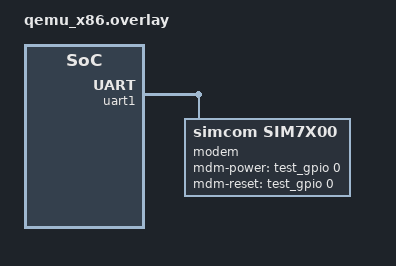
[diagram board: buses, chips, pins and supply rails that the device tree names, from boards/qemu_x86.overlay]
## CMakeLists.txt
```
# SPDX-License-Identifier: Apache-2.0

cmake_minimum_required(VERSION 3.20.0)
find_package(Zephyr REQUIRED HINTS $ENV{ZEPHYR_BASE})
project(simcom7x00_modem_unit)

target_sources(app PRIVATE src/main.c)
```

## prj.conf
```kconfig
CONFIG_ZTEST=y
CONFIG_TEST=y
CONFIG_GPIO=y
CONFIG_SERIAL=y
CONFIG_MODEM=y
CONFIG_NETWORKING=y
CONFIG_NET_L2_PPP=y
CONFIG_NET_QEMU_SLIP=n
CONFIG_SLIP=n
CONFIG_NET_SLIP_TAP=n
CONFIG_PM_DEVICE=y
CONFIG_UART_INTERRUPT_DRIVEN=y
CONFIG_MODEM_SIMCOM7X00=y
CONFIG_GNSS=y
CONFIG_GNSS_SIMCOM7X00=y
```

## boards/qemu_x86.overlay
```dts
/
{
	test {
		#address-cells = <1>;
		#size-cells = <1>;

		test_gpio: gpio@deadbeef {
			compatible = "vnd,gpio";
			gpio-controller;
			reg = <0xdeadbeef 0x1000>;
			#gpio-cells = <2>;
			status = "okay";
		};
	};
};

&uart1 {
	modem {
		compatible = "simcom,sim7x00";
		status = "okay";
		mdm-power-gpios = <&test_gpio 0 0>;
		mdm-reset-gpios = <&test_gpio 0 0>;

		gnss {
			compatible = "simcom,sim7x00-gnss";
			status = "okay";
		};
	};
};
```

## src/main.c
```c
/*
 * SPDX-License-Identifier: Apache-2.0
 */

#include <zephyr/drivers/cellular.h>
#include <zephyr/drivers/modem/simcom7x00.h>
#include <zephyr/ztest.h>

enum simcom7x00_rat simcom7x00_test_parse_cpsi_rat(const char *system_mode);
enum cellular_registration_status simcom7x00_test_registration_snapshot(
	enum simcom7x00_rat current_rat, enum cellular_registration_status gsm,
	enum cellular_registration_status gprs, enum cellular_registration_status lte);
int simcom7x00_test_operator_cache(void);
int simcom7x00_test_control_arbitration(void);
int simcom7x00_test_diagnostics_sequence(struct simcom7x00_control_diagnostics *failed,
					 struct simcom7x00_control_diagnostics *succeeded);
int simcom7x00_test_periodic_busy_retry(void);
int simcom7x00_test_gnss_snapshot_invalidation(void);
int simcom7x00_test_gnss_prepare_fix_rate_unlocks_mutex(void);

ZTEST(simcom7x00_modem_unit, test_cpsi_rat_parser)
{
	zassert_equal(simcom7x00_test_parse_cpsi_rat("EDGE"), SIMCOM7X00_RAT_EDGE, NULL);
	zassert_equal(simcom7x00_test_parse_cpsi_rat("HSPA+"), SIMCOM7X00_RAT_UMTS, NULL);
	zassert_equal(simcom7x00_test_parse_cpsi_rat("LTE"), SIMCOM7X00_RAT_LTE, NULL);
	zassert_equal(simcom7x00_test_parse_cpsi_rat("GSM"), SIMCOM7X00_RAT_GSM, NULL);
	zassert_equal(simcom7x00_test_parse_cpsi_rat("CAT-M"), SIMCOM7X00_RAT_LTE, NULL);
}

ZTEST(simcom7x00_modem_unit, test_registration_snapshot)
{
	zassert_equal(simcom7x00_test_registration_snapshot(
			      SIMCOM7X00_RAT_LTE, CELLULAR_REGISTRATION_SEARCHING,
			      CELLULAR_REGISTRATION_UNKNOWN, CELLULAR_REGISTRATION_REGISTERED_HOME),
		      CELLULAR_REGISTRATION_REGISTERED_HOME, NULL);
	zassert_equal(simcom7x00_test_registration_snapshot(
			      SIMCOM7X00_RAT_EDGE, CELLULAR_REGISTRATION_NOT_REGISTERED,
			      CELLULAR_REGISTRATION_REGISTERED_ROAMING, CELLULAR_REGISTRATION_UNKNOWN),
		      CELLULAR_REGISTRATION_REGISTERED_ROAMING, NULL);
}

ZTEST(simcom7x00_modem_unit, test_operator_cache)
{
	zassert_ok(simcom7x00_test_operator_cache(), NULL);
}

ZTEST(simcom7x00_modem_unit, test_control_arbitration)
{
	zassert_ok(simcom7x00_test_control_arbitration(), NULL);
}

ZTEST(simcom7x00_modem_unit, test_diagnostics_freshness)
{
	struct simcom7x00_control_diagnostics failed = { 0 };
	struct simcom7x00_control_diagnostics succeeded = { 0 };

	zassert_ok(simcom7x00_test_diagnostics_sequence(&failed, &succeeded), NULL);
	zassert_equal(failed.last_result, SIMCOM7X00_CONTROL_RESULT_FAILED, NULL);
	zassert_true(failed.has_cme_error, NULL);
	zassert_equal(failed.last_cme_error, 515, NULL);
	zassert_equal(failed.transaction_id, failed.completed_transaction_id, NULL);
	zassert_false(failed.transaction_in_progress, NULL);

	zassert_equal(succeeded.last_result, SIMCOM7X00_CONTROL_RESULT_SUCCESS, NULL);
	zassert_false(succeeded.has_cme_error, NULL);
	zassert_equal(succeeded.last_cme_error, 0, NULL);
	zassert_true(succeeded.transaction_id > failed.transaction_id, NULL);
	zassert_equal(succeeded.transaction_id, succeeded.completed_transaction_id, NULL);
	zassert_false(succeeded.transaction_in_progress, NULL);
}

ZTEST(simcom7x00_modem_unit, test_periodic_busy_retry)
{
	zassert_ok(simcom7x00_test_periodic_busy_retry(), NULL);
}

ZTEST(simcom7x00_modem_unit, test_gnss_snapshot_invalidation)
{
	zassert_ok(simcom7x00_test_gnss_snapshot_invalidation(), NULL);
}

ZTEST(simcom7x00_modem_unit, test_gnss_fix_rate_unlocks_for_ready)
{
	zassert_ok(simcom7x00_test_gnss_prepare_fix_rate_unlocks_mutex(), NULL);
}

ZTEST_SUITE(simcom7x00_modem_unit, NULL, NULL, NULL, NULL, NULL);
```
